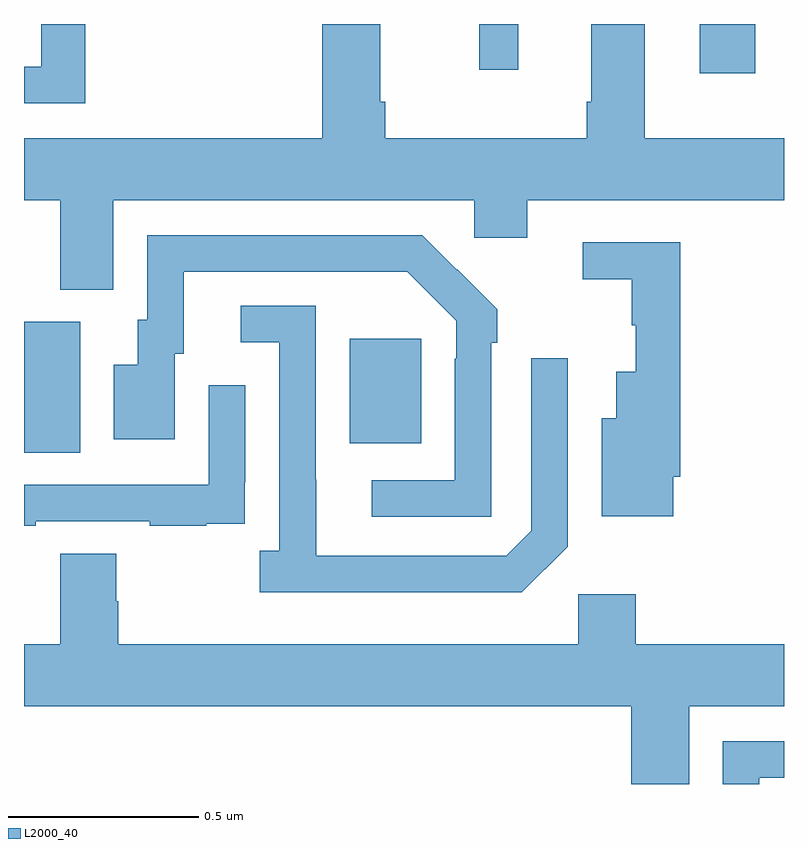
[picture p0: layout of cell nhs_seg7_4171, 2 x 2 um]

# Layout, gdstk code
import gdstk
lib = gdstk.Library(unit=1e-6, precision=1e-09)
def R(c, l, rs):  # rectangles x0, y0, x1, y1
    for r in rs: c.add(gdstk.rectangle(r[:2], r[2:], *l))
def P(c, l, *ps):  # polygons
    for p in ps: c.add(gdstk.Polygon(p, *l))
L2000_40 = (2000, 40)

nhs_seg7_4171 = lib.new_cell('nhs_seg7_4171')
R(nhs_seg7_4171, L2000_40, [(168,1079.872,168.148,1080.216), (168.857,1079.897,169.045,1080.172), (169.778,1080.87,169.924,1081), (169.198,1080.879,169.301,1081)])
P(nhs_seg7_4171, L2000_40, [(168.235,1080.536),(169.185,1080.536),(169.185,1080.438),(169.324,1080.438),(169.324,1080.536),(170,1080.536),(170,1080.7),(169.633,1080.7),(169.633,1081),(169.493,1081),(169.493,1080.796),(169.481,1080.796),(169.481,1080.7),(168.95,1080.7),(168.95,1080.796),(168.937,1080.796),(168.937,1081),(168.785,1081),(168.785,1080.7),(168,1080.7),(168,1080.536),(168.095,1080.536),(168.095,1080.301),(168.235,1080.301)],
  [(168.161,1081),(168.045,1081),(168.045,1080.888),(168,1080.888),(168,1080.792),(168.161,1080.792)],
  [(169.23,1080.161),(169.245,1080.161),(169.245,1080.249),(169.14,1080.354),(169.139,1080.353),(169.048,1080.444),(168.324,1080.444),(168.324,1080.222),(168.299,1080.222),(168.299,1080.103),(168.236,1080.103),(168.236,1079.907),(168.397,1079.907),(168.397,1080.132),(168.421,1080.132),(168.421,1080.348),(169.009,1080.348),(169.137,1080.219),(169.137,1080.119),(169.134,1080.119),(169.134,1079.799),(168.915,1079.799),(168.915,1079.703),(169.23,1079.703)],
  [(169.708,1079.809),(169.727,1079.809),(169.727,1080.426),(169.47,1080.426),(169.47,1080.328),(169.599,1080.328),(169.599,1080.207),(169.61,1080.207),(169.61,1080.085),(169.559,1080.085),(169.559,1079.962),(169.52,1079.962),(169.52,1079.705),(169.708,1079.705)],
  [(169.431,1079.625),(169.431,1080.121),(169.335,1080.121),(169.335,1079.667),(169.269,1079.601),(168.769,1079.601),(168.769,1079.801),(168.768,1079.801),(168.768,1080.258),(168.57,1080.258),(168.57,1080.162),(168.672,1080.162),(168.672,1079.614),(168.621,1079.614),(168.621,1079.504),(169.31,1079.504)],
  [(168.031,1079.691),(168.331,1079.691),(168.331,1079.679),(168.479,1079.679),(168.479,1079.685),(168.581,1079.685),(168.581,1079.794),(168.582,1079.794),(168.582,1080.049),(168.486,1080.049),(168.486,1079.787),(168,1079.787),(168,1079.679),(168.031,1079.679)],
  [(169.75,1079.204),(170,1079.204),(170,1079.368),(169.61,1079.368),(169.61,1079.5),(169.458,1079.5),(169.458,1079.368),(168.248,1079.368),(168.248,1079.481),(168.243,1079.481),(168.243,1079.606),(168.095,1079.606),(168.095,1079.368),(168,1079.368),(168,1079.204),(169.598,1079.204),(169.598,1079),(169.75,1079)],
  [(169.935,1079.017),(170,1079.017),(170,1079.112),(169.839,1079.112),(169.839,1079),(169.935,1079)])

lib.write_gds('nhs_seg7_4171.gds')
